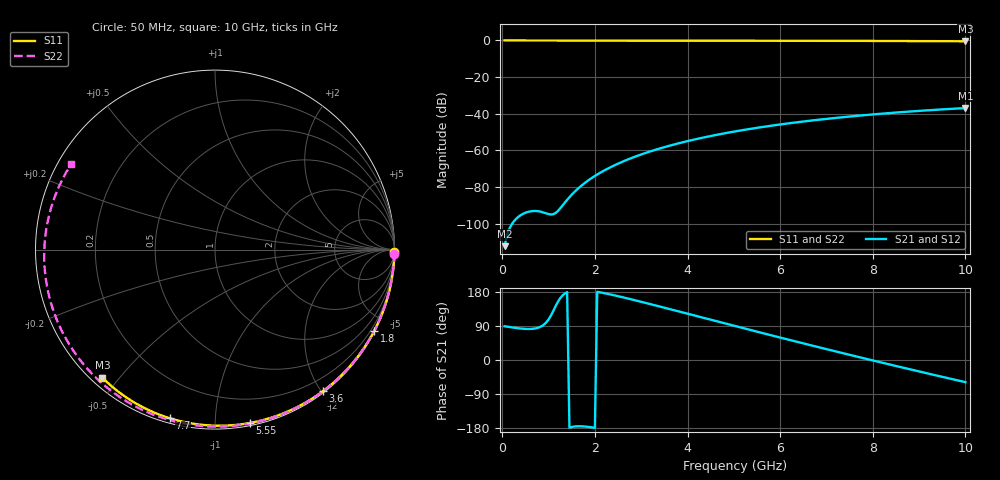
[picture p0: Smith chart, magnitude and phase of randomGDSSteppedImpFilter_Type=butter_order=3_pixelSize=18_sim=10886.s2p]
! freq	dB(S11)	phase(S11)	dB(S12)	phase(S12)
!  dB(S21)	phase(S21)	dB(S22)	phase(S22)
!S-par simulation data
#  GHz  S  DB  R 50
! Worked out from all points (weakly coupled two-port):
!   200 points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, 50 MHz to 10 GHz, reference 50 ohm
!   highest |S21| = -36.89 dB at 10 GHz (marker M1); lowest = -112.2 dB at 50 MHz (marker M2)
!   lowest |S11| = -0.4 dB at 10 GHz (marker M3), VSWR 39.10, Z = 1.54 - j22.6 ohm
!   |S11| at or under -10 dB: nowhere
!   |S22| runs from -0.6 to 0.0 dB; largest |S21 - S12| = 0
!   S11 on the Smith chart (normalised r, x): 50 MHz: open; 1.8 GHz: 0.04, -4.18; 3.6 GHz: 0.02, -2.02; 5.55 GHz: 0.02, -1.22; 7.7 GHz: 0.02, -0.77; 10 GHz: 0.03, -0.45
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0.05  -0.00 -0.8  -112.22 89.1  -112.22 89.1  -0.00 -1.3
0.4  -0.01 -6.1  -95.24 83.0  -95.24 83.0  -0.01 -10.0
0.8  -0.02 -12.1  -93.26 86.3  -93.26 86.3  -0.03 -19.9
1.2  -0.02 -18.0  -93.05 153.5  -93.05 153.5  -0.04 -29.8
1.65  -0.03 -24.7  -80.46 -174.8  -80.46 -174.8  -0.05 -40.6
1.75  -0.03 -26.2  -78.36 -175.2  -78.36 -175.2  -0.05 -43.0
1.8  -0.03 -26.9  -77.38 -175.7  -77.38 -175.7  -0.06 -44.2
2.1  -0.04 -31.3  -72.37 178.8  -72.37 178.8  -0.06 -51.2
2.5  -0.05 -37.1  -67.20 168.4  -67.20 168.4  -0.08 -60.5
2.9  -0.06 -42.8  -63.09 156.6  -63.09 156.6  -0.09 -69.5
3.4  -0.07 -49.9  -58.93 141.1  -58.93 141.1  -0.10 -80.4
3.6  -0.07 -52.6  -57.49 134.8  -57.49 134.8  -0.11 -84.7
4.3  -0.09 -62.2  -53.18 112.6  -53.18 112.6  -0.14 -99.3
5.05  -0.11 -72.2  -49.51 88.9  -49.51 88.9  -0.17 -114.4
5.55  -0.13 -78.6  -47.46 73.2  -47.46 73.2  -0.20 -124.1
6.15  -0.15 -86.2  -45.32 54.6  -45.32 54.6  -0.24 -135.6
6.7  -0.18 -93.0  -43.62 37.7  -43.62 37.7  -0.27 -145.9
7.2  -0.21 -99.0  -42.25 22.6  -42.25 22.6  -0.31 -155.3
7.7  -0.24 -105.0  -41.02 7.7  -41.02 7.7  -0.36 -164.8
8.35  -0.29 -112.6  -39.62 -11.4  -39.62 -11.4  -0.42 -177.2
9.2  -0.36 -122.3  -38.08 -35.9  -38.08 -35.9  -0.51 166.0
10  -0.44 -131.3  -36.89 -58.4  -36.89 -58.4  -0.61 149.4
